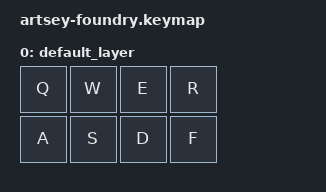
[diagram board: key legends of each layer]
/ {
    keymap {
        compatible = "zmk,keymap";

        default_layer {
            bindings = <
                &kp Q &kp W &kp E &kp R
                &kp A &kp S &kp D &kp F
            >;
        };
    };
};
